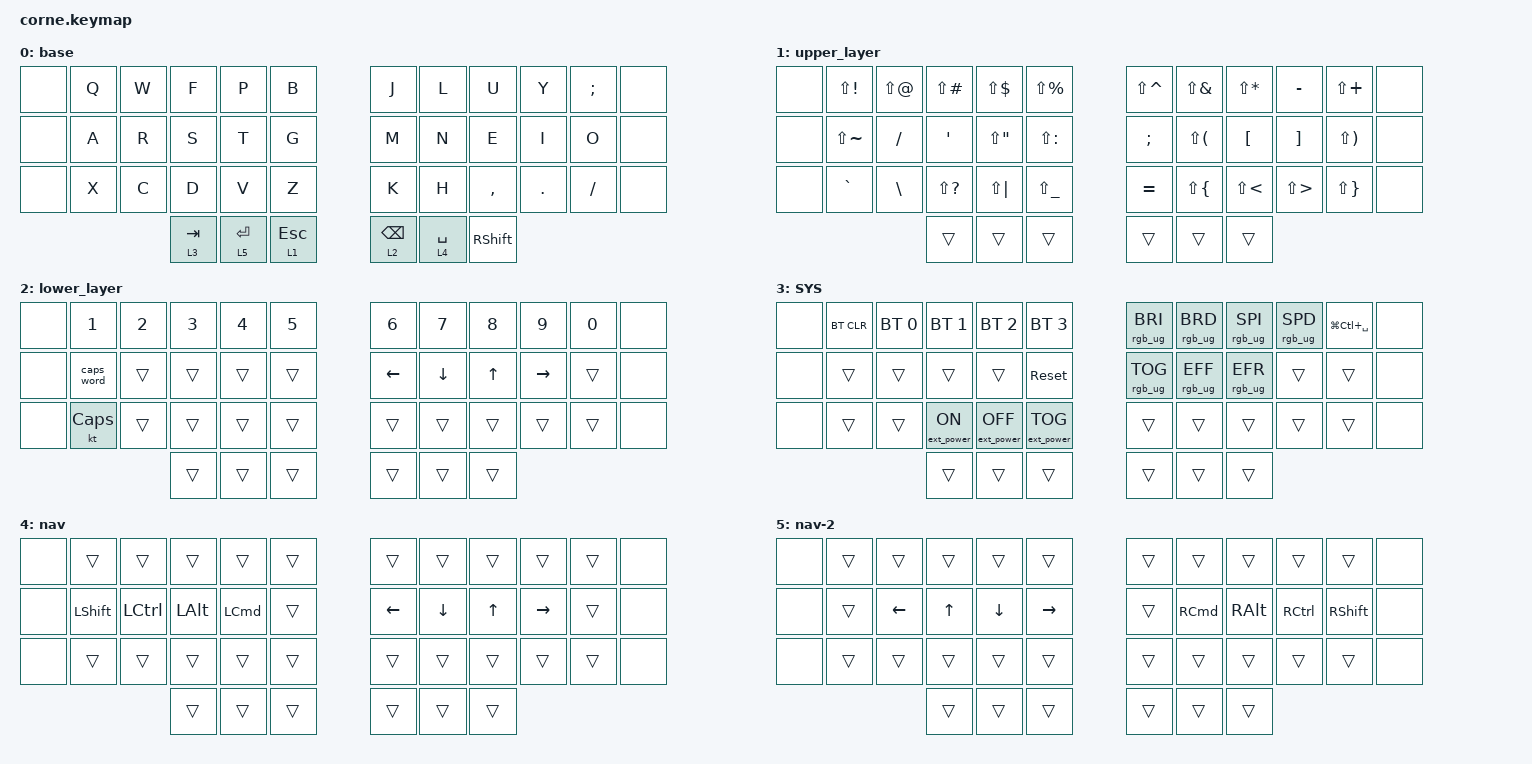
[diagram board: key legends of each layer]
#include <behaviors.dtsi>
#include <dt-bindings/zmk/bt.h>
#include <dt-bindings/zmk/ext_power.h>
#include <dt-bindings/zmk/keys.h>
#include <dt-bindings/zmk/rgb.h>

&led_strip { chain-length = <27>; };

&mt {
    tapping_term_ms = <180>;
    tapping-term-ms = <180>;
    require-prior-idle-ms = <110>;
};

/ {
    combos {
        compatible = "zmk,combos";

        combo-to {
            bindings = <&mo 3>;
            key-positions = <10 34>;
            timeout-ms = <90>;
            require-prior-idle-ms = <1>;
        };
    };

    keymap {
        compatible = "zmk,keymap";

        base {
            bindings = <
&none  &kp Q  &kp W  &kp F      &kp P        &kp B           &kp J            &kp L        &kp U            &kp Y    &kp SEMI  &none
&none  &kp A  &kp R  &kp S      &kp T        &kp G           &kp M            &kp N        &kp E            &kp I    &kp O     &none
&none  &kp X  &kp C  &kp D      &kp V        &kp Z           &kp K            &kp H        &kp COMMA        &kp DOT  &kp FSLH  &none
                     &lt 3 TAB  &lt 5 ENTER  &lt 1 ESCAPE    &lt 2 BACKSPACE  &lt 4 SPACE  &kp RIGHT_SHIFT
            >;
        };

        upper_layer {
            bindings = <
&none  &kp LS(EXCL)   &kp LS(AT)  &kp LS(POUND)  &kp LS(DLLR)  &kp LS(PRCNT)    &kp LS(CARET)  &kp LS(AMPS)  &kp LS(STAR)  &kp MINUS   &kp LS(PLUS)  &none
&none  &kp LS(TILDE)  &kp FSLH    &kp SQT        &kp LS(DQT)   &kp LS(COLON)    &kp SEMI       &kp LS(LPAR)  &kp LBKT      &kp RBKT    &kp LS(RPAR)  &none
&none  &kp GRAVE      &kp BSLH    &kp LS(QMARK)  &kp LS(PIPE)  &kp LS(UNDER)    &kp EQUAL      &kp LS(LBRC)  &kp LS(LT)    &kp LS(GT)  &kp LS(RBRC)  &none
                                  &trans         &trans        &trans           &trans         &trans        &trans
            >;
        };

        lower_layer {
            bindings = <
&none  &kp N1      &kp N2  &kp N3  &kp N4  &kp N5    &kp N6    &kp N7    &kp N8  &kp N9     &kp N0  &none
&none  &caps_word  &trans  &trans  &trans  &trans    &kp LEFT  &kp DOWN  &kp UP  &kp RIGHT  &trans  &none
&none  &kt CLCK    &trans  &trans  &trans  &trans    &trans    &trans    &trans  &trans     &trans  &none
                           &trans  &trans  &trans    &trans    &trans    &trans
            >;
        };

        SYS {
            bindings = <
&none  &bt BT_CLR  &bt BT_SEL 0  &bt BT_SEL 1      &bt BT_SEL 2       &bt BT_SEL 3         &rgb_ug RGB_BRI  &rgb_ug RGB_BRD  &rgb_ug RGB_SPI  &rgb_ug RGB_SPD  &kp LG(LC(SPACE))  &none
&none  &trans      &trans        &trans            &trans             &sys_reset           &rgb_ug RGB_TOG  &rgb_ug RGB_EFF  &rgb_ug RGB_EFR  &trans           &trans             &none
&none  &trans      &trans        &ext_power EP_ON  &ext_power EP_OFF  &ext_power EP_TOG    &trans           &trans           &trans           &trans           &trans             &none
                                 &trans            &trans             &trans               &trans           &trans           &trans
            >;
        };

        nav {
            bindings = <
&none  &trans     &trans     &trans    &trans            &trans    &trans    &trans    &trans  &trans     &trans  &none
&none  &kp LSHFT  &kp LCTRL  &kp LALT  &kp LEFT_COMMAND  &trans    &kp LEFT  &kp DOWN  &kp UP  &kp RIGHT  &trans  &none
&none  &trans     &trans     &trans    &trans            &trans    &trans    &trans    &trans  &trans     &trans  &none
                             &trans    &trans            &trans    &trans    &trans    &trans
            >;
        };

        nav-2 {
            bindings = <
&none  &trans  &trans    &trans  &trans    &trans       &trans  &trans             &trans    &trans     &trans     &none
&none  &trans  &kp LEFT  &kp UP  &kp DOWN  &kp RIGHT    &trans  &kp RIGHT_COMMAND  &kp RALT  &kp RCTRL  &kp RSHFT  &none
&none  &trans  &trans    &trans  &trans    &trans       &trans  &trans             &trans    &trans     &trans     &none
                         &trans  &trans    &trans       &trans  &trans             &trans
            >;
        };
    };
};
